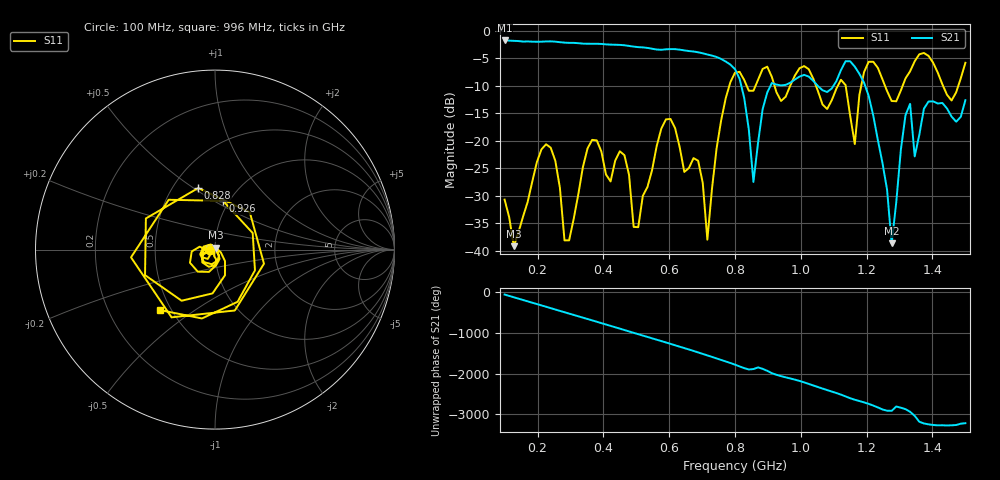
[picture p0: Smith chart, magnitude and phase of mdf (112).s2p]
! NanoVNA-App
! Date: 2025-09-25 17:41:50
! Start: 100MHz Stop: 1,5GHz Points: 101
! S-Parameter data: F S11 S21 S12 S22
# Hz S RI R 50
!  Frequency  S11_Real  S11_Imag  S21_Real  S21_Imag  S12_Real  S12_Imag  S22_Real  S22_Imag
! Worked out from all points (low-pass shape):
!   101 points, 100 MHz to 1.5 GHz, reference 50 ohm
!   highest |S21| = -1.80 dB at 100 MHz (marker M1); lowest = -38.7 dB at 1.276 GHz (marker M2)
!   |S21| within 3 dB of the highest: start of sweep to 743.9 MHz
!   lowest |S11| = -39.2 dB at 128 MHz (marker M3), VSWR 1.02, Z = 50.3 + j1.06 ohm
!   |S11| at or under -10 dB: start of sweep to 782.9 MHz; 1.046 GHz to 1.113 GHz (67.04 MHz wide, 6.21 % of centre); 1.256 GHz to 1.31 GHz (54.08 MHz wide, 4.22 % of centre)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
!   S12 and S22 are empty: the file has one direction only
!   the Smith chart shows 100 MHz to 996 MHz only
!   S11 on the Smith chart (normalised r, x): 100 MHz: 0.94, -0.01; 828 MHz: 0.67, +0.52; 926 MHz: 0.94, +0.55; 996 MHz: 0.44, -0.37
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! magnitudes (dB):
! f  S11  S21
! 100 MHz  -30.7  -1.8
! 128 MHz  -39.2  -1.9
! 212 MHz  -21.6  -2.0
! 282 MHz  -38.1  -2.2
! 338 MHz  -24.8  -2.4
! 464 MHz  -22.6  -2.7
! 506 MHz  -35.7  -3.0
! 576 MHz  -17.8  -3.5
! 688 MHz  -23.6  -3.9
! 716 MHz  -38.0  -4.4
! 800 MHz  -7.6  -7.0
! 828 MHz  -9.0  -12.2
! 856 MHz  -10.9  -27.5
! 926 MHz  -11.2  -9.8
! 996 MHz  -6.8  -8.4
! 1.038 GHz  -8.8  -9.1
! 1.164 GHz  -20.6  -6.6
! 1.192 GHz  -7.6  -9.5
! 1.276 GHz  -12.8  -38.7
! 1.332 GHz  -7.4  -13.3
! 1.346 GHz  -5.6  -22.9
! 1.5 GHz  -5.9  -12.6
